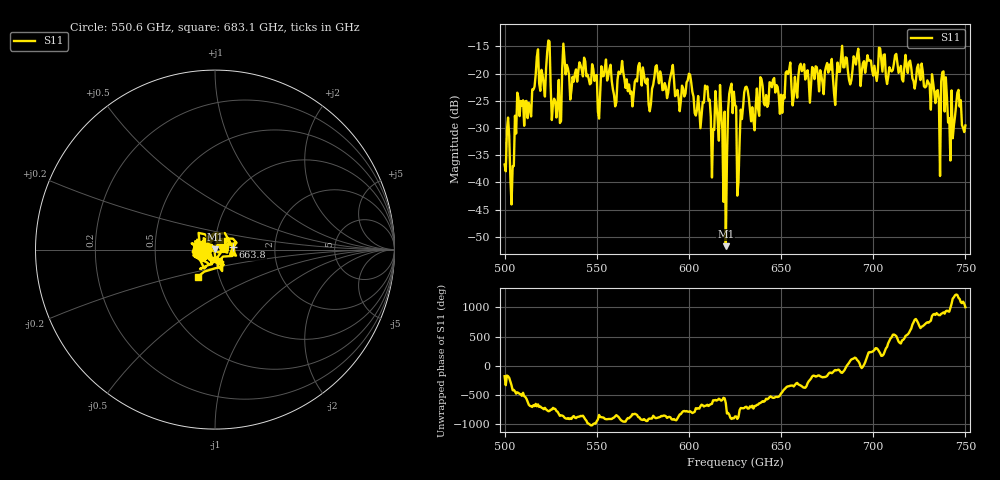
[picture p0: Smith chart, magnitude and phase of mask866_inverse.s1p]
!Created with skrf (http://scikit-rf.org).
# GHz S MA R 50.0
!freq magS11 angS11
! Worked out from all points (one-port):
!   401 points, 500 GHz to 750 GHz, reference 50 ohm
!   lowest |S11| = -51.7 dB at 620 GHz (marker M1), VSWR 1.01, Z = 50 + j0.256 ohm
!   |S11| at or under -10 dB: start of sweep to end of sweep
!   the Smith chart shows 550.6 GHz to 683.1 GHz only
!   S11 on the Smith chart (normalised r, x): 550.6 GHz: 0.92, +0.03; 663.8 GHz: 1.22, +0.03; 683.1 GHz: 0.79, -0.25
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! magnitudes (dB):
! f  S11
! 500 GHz  -36.7
! 503.8 GHz  -44.1
! 506.9 GHz  -23.5
! 513.8 GHz  -26.4
! 516.9 GHz  -20.1
! 523.8 GHz  -13.9
! 526.9 GHz  -24.6
! 531.2 GHz  -19.1
! 542.5 GHz  -20.5
! 550.6 GHz  -27.0
! 562.5 GHz  -20.1
! 593.8 GHz  -23.0
! 610 GHz  -22.4
! 612.5 GHz  -39.1
! 616.2 GHz  -32.3
! 620 GHz  -51.7
! 622.5 GHz  -22.6
! 625 GHz  -25.8
! 627.5 GHz  -32.5
! 631.2 GHz  -22.4
! 634.4 GHz  -26.2
! 656.2 GHz  -25.9
! 663.8 GHz  -20.0
! 683.1 GHz  -14.9
! 687.5 GHz  -22.0
! 718.8 GHz  -19.9
! 746.2 GHz  -23.0
! 750 GHz  -29.6
